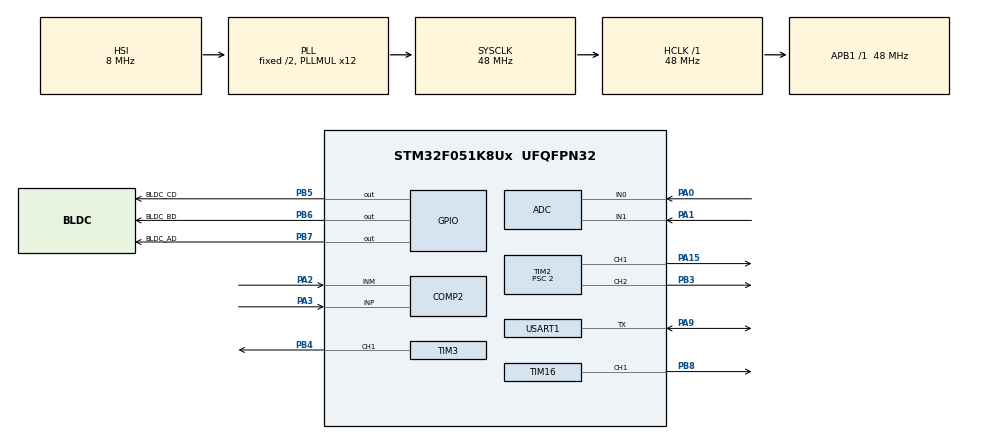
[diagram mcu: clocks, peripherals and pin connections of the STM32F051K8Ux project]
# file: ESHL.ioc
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ADC.ContinuousConvMode=ENABLE
ADC.DMAContinuousRequests=DISABLE
ADC.SamplingTime=ADC_SAMPLETIME_1CYCLE_5
COMP2.TriggerMode=COMP_TRIGGERMODE_IT_RISING
Dma.ADC.1.Direction=DMA_PERIPH_TO_MEMORY
Dma.ADC.1.Instance=DMA1_Channel1
Dma.ADC.1.MemDataAlignment=DMA_MDATAALIGN_HALFWORD
Dma.ADC.1.MemInc=DMA_MINC_ENABLE
Dma.ADC.1.Mode=DMA_NORMAL
Dma.ADC.1.PeriphDataAlignment=DMA_PDATAALIGN_HALFWORD
Dma.ADC.1.PeriphInc=DMA_PINC_DISABLE
Dma.ADC.1.Priority=DMA_PRIORITY_LOW
Dma.Request0=TIM16_CH1/UP
Dma.Request1=ADC
Dma.Request2=USART1_RX
Dma.Request3=USART1_TX
Dma.TIM16_CH1/UP.0.Direction=DMA_MEMORY_TO_PERIPH
Dma.TIM16_CH1/UP.0.Instance=DMA1_Channel3
Dma.TIM16_CH1/UP.0.MemDataAlignment=DMA_MDATAALIGN_HALFWORD
Dma.TIM16_CH1/UP.0.MemInc=DMA_MINC_ENABLE
Dma.TIM16_CH1/UP.0.Mode=DMA_CIRCULAR
Dma.TIM16_CH1/UP.0.PeriphDataAlignment=DMA_PDATAALIGN_HALFWORD
Dma.TIM16_CH1/UP.0.PeriphInc=DMA_PINC_DISABLE
Dma.TIM16_CH1/UP.0.Priority=DMA_PRIORITY_LOW
Dma.USART1_RX.2.Direction=DMA_PERIPH_TO_MEMORY
Dma.USART1_RX.2.Instance=DMA1_Channel5
Dma.USART1_RX.2.MemDataAlignment=DMA_MDATAALIGN_BYTE
Dma.USART1_RX.2.MemInc=DMA_MINC_ENABLE
Dma.USART1_RX.2.Mode=DMA_NORMAL
Dma.USART1_RX.2.PeriphDataAlignment=DMA_PDATAALIGN_BYTE
Dma.USART1_RX.2.PeriphInc=DMA_PINC_DISABLE
Dma.USART1_RX.2.Priority=DMA_PRIORITY_LOW
Dma.USART1_TX.3.Direction=DMA_MEMORY_TO_PERIPH
Dma.USART1_TX.3.Instance=DMA1_Channel2
Dma.USART1_TX.3.MemDataAlignment=DMA_MDATAALIGN_BYTE
Dma.USART1_TX.3.MemInc=DMA_MINC_ENABLE
Dma.USART1_TX.3.Mode=DMA_NORMAL
Dma.USART1_TX.3.PeriphDataAlignment=DMA_PDATAALIGN_BYTE
Dma.USART1_TX.3.PeriphInc=DMA_PINC_DISABLE
Dma.USART1_TX.3.Priority=DMA_PRIORITY_LOW
Mcu.Family=STM32F0
Mcu.Name=STM32F051K8Ux
Mcu.Package=UFQFPN32
NVIC.ADC1_COMP_IRQn=true\:0\:0\:false\:false\:true\:false\:true\:true
NVIC.DMA1_Channel1_IRQn=true\:0\:0\:true\:false\:true\:false\:true\:true
NVIC.DMA1_Channel2_3_IRQn=true\:0\:0\:true\:false\:true\:false\:true\:true
NVIC.DMA1_Channel4_5_IRQn=true\:1\:0\:true\:false\:true\:false\:true\:true
NVIC.USART1_IRQn=true\:1\:0\:true\:false\:true\:true\:true\:true
PA0.Mode=IN0
PA0.Signal=ADC_IN0
PA1.Mode=IN1
PA1.Signal=ADC_IN1
PA13.Mode=Serial_Wire
PA13.Signal=SYS_SWDIO
PA14.Mode=Serial_Wire
PA14.Signal=SYS_SWCLK
PA15.Signal=S_TIM2_CH1_ETR
PA2.Mode=INM
PA2.Signal=COMP2_INM
PA3.Mode=INP
PA3.Signal=COMP2_INP
PA9.Mode=Half_duplex(single_wire_mode)
PA9.Signal=USART1_TX
PB3.Signal=S_TIM2_CH2
PB4.Signal=S_TIM3_CH1
PB5.GPIO_Label=BLDC_CD
PB5.GPIO_PuPd=GPIO_PULLDOWN
PB5.GPIO_Speed=GPIO_SPEED_FREQ_HIGH
PB5.Signal=GPIO_Output
PB6.GPIO_Label=BLDC_BD
PB6.GPIO_PuPd=GPIO_PULLDOWN
PB6.GPIO_Speed=GPIO_SPEED_FREQ_HIGH
PB6.Signal=GPIO_Output
PB7.GPIO_FM7=__NULL
PB7.GPIO_Label=BLDC_AD
PB7.GPIO_PuPd=GPIO_PULLDOWN
PB7.GPIO_Speed=GPIO_SPEED_FREQ_HIGH
PB7.Signal=GPIO_Output
PB8.Signal=S_TIM16_CH1
ProjectManager.HeapSize=0x200
ProjectManager.StackSize=0x400
ProjectManager.TargetToolchain=STM32CubeIDE
RCC.AHBFreq_Value=48000000
RCC.APB1Freq_Value=48000000
RCC.APB1TimFreq_Value=48000000
RCC.HCLKFreq_Value=48000000
RCC.PLLMUL=RCC_PLL_MUL12
RCC.SYSCLKFreq_VALUE=48000000
RCC.SYSCLKSource=RCC_SYSCLKSOURCE_PLLCLK
SH.S_TIM16_CH1.0=TIM16_CH1,PWM Generation1 CH1
SH.S_TIM2_CH1_ETR.0=TIM2_CH1,PWM Generation1 CH1
SH.S_TIM2_CH2.0=TIM2_CH2,PWM Generation2 CH2
SH.S_TIM3_CH1.0=TIM3_CH1,PWM Generation1 CH1
TIM16.AutoReloadPreload=TIM_AUTORELOAD_PRELOAD_DISABLE
TIM16.Channel=TIM_CHANNEL_1
TIM16.Period=60
TIM16.Prescaler=0
TIM2.AutoReloadPreload=TIM_AUTORELOAD_PRELOAD_ENABLE
TIM2.Channel-PWM\ Generation1\ CH1=TIM_CHANNEL_1
TIM2.Channel-PWM\ Generation2\ CH2=TIM_CHANNEL_2
TIM2.Period=991
TIM2.Prescaler=2
TIM3.AutoReloadPreload=TIM_AUTORELOAD_PRELOAD_ENABLE
TIM3.Channel-PWM\ Generation1\ CH1=TIM_CHANNEL_1
TIM3.Period=991
TIM3.Prescaler=2
TIM6.AutoReloadPreload=TIM_AUTORELOAD_PRELOAD_ENABLE
TIM6.Prescaler=47
USART1.BaudRate=115200
USART1.SwapParam=ADVFEATURE_SWAP_DISABLE
USART1.VirtualMode-Half_duplex(single_wire_mode)=VM_ASYNC
VP_RTC_VS_RTC_Activate.Mode=RTC_Enabled
VP_TIM16_VS_ClockSourceINT.Mode=Enable_Timer
VP_TIM2_VS_ClockSourceINT.Mode=Internal
VP_TIM3_VS_ClockSourceINT.Mode=Internal
VP_TIM6_VS_ClockSourceINT.Mode=Enable_Timer
board=custom

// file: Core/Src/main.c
/* USER CODE BEGIN Header */
/**
  ******************************************************************************
  * @file           : main.c
  * @brief          : Main program body
  ******************************************************************************
  * @attention
  *
  * Copyright (c) 2025 STMicroelectronics.
  * All rights reserved.
  *
  * This software is licensed under terms that can be found in the LICENSE file
  * in the root directory of this software component.
  * If no LICENSE file comes with this software, it is provided AS-IS.
  *
  ******************************************************************************
  */
/* USER CODE END Header */
#include "main.h"
#include "adc.h"
#include "comp.h"
#include "dma.h"
#include "rtc.h"
#include "tim.h"
#include "usart.h"
#include "gpio.h"

/* USER CODE BEGIN Includes */

#include <string.h>
#include "ESHL_driver.h"
#include "ws2812b.h"
#include "communication_management.h"
#include "ESHL_protocol.h"

/* USER CODE END Includes */

void SystemClock_Config(void);

/* USER CODE BEGIN 0 */

extern uint16_t ESHL_RunPWMBuff;   //电调运行pwm缓存
extern ESHL_PROTOCOL_PACK_ANALYSIS_T recv_str;

/* USER CODE END 0 */

int main(void)
{

  /* MCU Configuration--------------------------------------------------------*/

  /* Reset of all peripherals, Initializes the Flash interface and the Systick. */
  HAL_Init();

  /* Configure the system clock */
  SystemClock_Config();

  /* Initialize all configured peripherals */
  MX_GPIO_Init();
  MX_DMA_Init();
  MX_RTC_Init();
  MX_COMP2_Init();
  MX_TIM2_Init();
  MX_TIM3_Init();
  MX_TIM6_Init();
  MX_TIM16_Init();
  MX_ADC_Init();
  MX_USART1_UART_Init();
  /* USER CODE BEGIN 2 */

  uint8_t ESHL_OpenLoopRestartNum = 0;//电调重开环启动计数

  WS2812B_OBJ_T ESHL_StateLed;                                    //创建电调ws2812b指示灯对象
  WS2812_Init(&ESHL_StateLed,&htim16,TIM_CHANNEL_1,1);//初始化
  WS2812_Set(&ESHL_StateLed,0,15,15,0);            //默认为黄色

  //电调指示灯                   内容
  //--------------------------------------------------
  //绿色常亮               表示电调准备就绪,正常运行
  //--------------------------------------------------
  //黄色常亮               表示正在初始化
  //--------------------------------------------------
  //红色闪烁               表示MOS异常,闪烁次数代表错误代码
  //--------------------------------------------------
  //橙色闪烁               表示电流异常
  //--------------------------------------------------
  //蓝色闪烁               表示主机离线,数据接收超时
  //--------------------------------------------------
  //白色闪烁               表示电调开环启动超过最大次数,开环启动失败
  //--------------------------------------------------
  //紫色常亮               表示电调正在设置地址
  //--------------------------------------------------
  //紫色闪烁               表示地址设置完毕,闪烁次数代表电调地址
  //--------------------------------------------------
  //浅蓝闪烁               表示电池电压异常
  //--------------------------------------------------
  //绿色与蓝色交替闪烁       表示电调串口接收到数据,但不是发给本电调的
  //--------------------------------------------------

  ESHL_ESC_Init();

  uint8_t mos_error_id = MOS_SelfTest();//MOS自检,并获取错误代码
  if (mos_error_id != 0) {
    while (1) {
      for (uint8_t i = 0;i < mos_error_id;i++) {
        WS2812_SetAll(&ESHL_StateLed,15,0,0);//红灯闪烁,闪烁次数代表错误码
        HAL_Delay(200);
        WS2812_SetAll(&ESHL_StateLed,0,0,0);
        HAL_Delay(200);
        ESHL_CommunicationSendCode(ESHL_PROTOCOL_CMD_ERROR,0xE0);
      }
      HAL_Delay(800);
    }
  }

  //----------开机音乐----------
  ESHL_Beep(ESHL_BEEP_SHORT);//E
  HAL_Delay(100);

  ESHL_Beep(ESHL_BEEP_SHORT);//S
  ESHL_Beep(ESHL_BEEP_SHORT);
  ESHL_Beep(ESHL_BEEP_SHORT);
  HAL_Delay(100);

  ESHL_Beep(ESHL_BEEP_LONG);//C
  ESHL_Beep(ESHL_BEEP_SHORT);
  ESHL_Beep(ESHL_BEEP_LONG);
  ESHL_Beep(ESHL_BEEP_SHORT);
  HAL_Delay(100);

  // ESHL_Beep(ESHL_BEEP_SHORT);//E
  // HAL_Delay(100);
  //
  // ESHL_Beep(ESHL_BEEP_SHORT);//S
  // ESHL_Beep(ESHL_BEEP_SHORT);
  // ESHL_Beep(ESHL_BEEP_SHORT);
  // HAL_Delay(100);
  //
  // ESHL_Beep(ESHL_BEEP_SHORT);//H
  // ESHL_Beep(ESHL_BEEP_SHORT);
  // ESHL_Beep(ESHL_BEEP_SHORT);
  // ESHL_Beep(ESHL_BEEP_SHORT);
  // HAL_Delay(100);
  //
  // ESHL_Beep(ESHL_BEEP_SHORT);//L
  // ESHL_Beep(ESHL_BEEP_LONG);
  // ESHL_Beep(ESHL_BEEP_SHORT);
  // ESHL_Beep(ESHL_BEEP_SHORT);
  // HAL_Delay(100);

  //----------end of 开机音乐----------

  if (ESHL_GetState() == ESHL_STATE_OFF) {//初始化无错误
    ESHL_SetState(EShl_STATE_READY);//将电调状态设置为准备就绪
  }

  /* USER CODE END 2 */

  /* Infinite loop */
  /* USER CODE BEGIN WHILE */
  while (1)
  {
    ESHL_RuningCurrentVBATChack();//电流和电池电压检测
    switch (ESHL_GetState()) {

      case ESHL_STATE_OFF://电调关闭
        ESHL_CloseMOSComp();//关闭所有MOS管并且关闭比较器
        WS2812_SetAll(&ESHL_StateLed,0,0,0);
        break;

      case EShl_STATE_READY://电调准备就绪
        WS2812_SetAll(&ESHL_StateLed,0,15,0);//状态指示灯设为绿色
        ESHL_CommunicationStart();//开始通信
        break;

      case ESHL_STATE_START://启动电机
        WS2812_SetAll(&ESHL_StateLed,0,15,0);//状态指示灯设为绿色
        ESHL_Start(ESHL_GetDirection());
        break;

      case ESHL_STATE_OPEN_LOOP_START_FAIL://电调开环启动失败
        if (ESHL_OpenLoopRestartNum > ESHL_OPEN_LOOP_RESTART_MAX_NUM - 2) {
          ESHL_SetState(ESHL_STATE_OPEN_LOOP_START_ERROR);//设置电调状态为无法开环启动
        }
        else{
          ESHL_OpenLoopRestartNum++;
          ESHL_Start(ESHL_GetDirection());
        }
        break;

      case ESHL_STATE_OPEN_LOOP_START_ERROR://电调开环启动重试超过最大次数,无法开环启动
          ESHL_CloseMOSComp();//关闭所有MOS管并且关闭比较器
          WS2812_SetAll(&ESHL_StateLed,15,15,15);
          HAL_Delay(200);
          WS2812_SetAll(&ESHL_StateLed,0,0,0);
          HAL_Delay(200);
          ESHL_CommunicationSendCode(ESHL_PROTOCOL_CMD_ERROR,0XE2);//发送电调错误码
        break;

      case ESHL_STATE_RUN_CLOCKWISE://顺时针方向运动中
        ESHL_OpenLoopRestartNum = 0;//开环重启动计数清零
        ESHL_RuningChack();       //堵转检测
        ESHL_SET_PWM(ESHL_RunPWMBuff);//更新运行PWM值
        WS2812_SetAll(&ESHL_StateLed,0,15,0);//状态指示灯设为绿色
        break;

       case ESHL_STATE_RUN_COUNTER_CLOCKWISE://逆时针方向运动中
        ESHL_OpenLoopRestartNum = 0;//开环重启动计数清零
        ESHL_RuningChack();       //堵转检测
        ESHL_SET_PWM(ESHL_RunPWMBuff);//更新运行PWM值
        WS2812_SetAll(&ESHL_StateLed,0,15,0);//状态指示灯设为绿色
        break;

      case ESHL_STATE_MOTOR_RUNING_STOP://电机运行时停转
        ESHL_CommunicationSendCode(ESHL_PROTOCOL_CMD_ERROR,0XE3);//发送电调错误码
        ESHL_CommunicationStart();//开启接收
        ESHL_Start(ESHL_GetDirection());//开环启动
        break;

      case ESHL_STATE_CURRENT_ERROR://电流异常
          ESHL_CloseMOSComp();//关闭所有MOS管并且关闭比较器
          WS2812_SetAll(&ESHL_StateLed,15,5,0);
          HAL_Delay(200);
          WS2812_SetAll(&ESHL_StateLed,0,0,0);
          HAL_Delay(200);
          ESHL_CommunicationSendCode(ESHL_PROTOCOL_CMD_ERROR,0XE1);//发送电调错误码
        break;

      case ESHL_STATE_SET_HOST_TIMEOUT://主机离线
          ESHL_CloseMOSComp();//关闭所有MOS管并且关闭比较器
          WS2812_SetAll(&ESHL_StateLed,0,0,15);
          HAL_Delay(200);
          WS2812_SetAll(&ESHL_StateLed,0,0,0);
          HAL_Delay(200);
        break;

      case ESHL_STATE_SET_ADDR://电调设置地址中
        ESHL_SetAddr(recv_str.addr_dat);
        WS2812_SetAll(&ESHL_StateLed,15,0,15);
        break;

      case ESHL_STATE_SET_ADDR_OK://电调地址设置成功
        while (1) {
          for (uint8_t i = 0;i < (uint8_t)(ESHL_GetAddr() & 0xff);i++) {
            WS2812_SetAll(&ESHL_StateLed,15,0,15);
            HAL_Delay(200);
            WS2812_SetAll(&ESHL_StateLed,0,0,0);
            HAL_Delay(200);
            ESHL_CommunicationAddressSend();//广播电调地址
          }
          HAL_Delay(800);
        }
        break;

      case ESHL_STATE_BATTERY_VOLTAGE_ERROR://电池电压异常
        ESHL_CloseMOSComp();//关闭所有MOS管并且关闭比较器
        WS2812_SetAll(&ESHL_StateLed,0,15,15);
        HAL_Delay(200);
        WS2812_SetAll(&ESHL_StateLed,0,0,0);
        HAL_Delay(200);
        ESHL_CommunicationSendCode(ESHL_PROTOCOL_CMD_ERROR,0XE4);//发送电调错误码
        break;

      case ESHL_STATE_BRAKE:///刹车中
        ESHL_Break();
        break;

      case ESHL_STATE_BRAKE_OK://刹车完毕
        ESHL_CommunicationSendCode(ESHL_PROTOCOL_CMD_BREAK,0xA3);
        ESHL_SetState(EShl_STATE_READY);
        break;

      default:
        break;
    }
    ESHL_CommunicationDataProcessing();//通信数据处理
    /* USER CODE END WHILE */

  }
}

void SystemClock_Config(void)
{
  RCC_OscInitTypeDef RCC_OscInitStruct = {0};
  RCC_ClkInitTypeDef RCC_ClkInitStruct = {0};
  RCC_PeriphCLKInitTypeDef PeriphClkInit = {0};

  /** Initializes the RCC Oscillators according to the specified parameters
  * in the RCC_OscInitTypeDef structure.
  */
  RCC_OscInitStruct.OscillatorType = RCC_OSCILLATORTYPE_HSI|RCC_OSCILLATORTYPE_HSI14
                              |RCC_OSCILLATORTYPE_LSI;
  RCC_OscInitStruct.HSIState = RCC_HSI_ON;
  RCC_OscInitStruct.HSI14State = RCC_HSI14_ON;
  RCC_OscInitStruct.HSICalibrationValue = RCC_HSICALIBRATION_DEFAULT;
  RCC_OscInitStruct.HSI14CalibrationValue = 16;
  RCC_OscInitStruct.LSIState = RCC_LSI_ON;
  RCC_OscInitStruct.PLL.PLLState = RCC_PLL_ON;
  RCC_OscInitStruct.PLL.PLLSource = RCC_PLLSOURCE_HSI;
  RCC_OscInitStruct.PLL.PLLMUL = RCC_PLL_MUL12;
  RCC_OscInitStruct.PLL.PREDIV = RCC_PREDIV_DIV1;
  if (HAL_RCC_OscConfig(&RCC_OscInitStruct) != HAL_OK)
  {
    Error_Handler();
  }

  /** Initializes the CPU, AHB and APB buses clocks
  */
  RCC_ClkInitStruct.ClockType = RCC_CLOCKTYPE_HCLK|RCC_CLOCKTYPE_SYSCLK
                              |RCC_CLOCKTYPE_PCLK1;
  RCC_ClkInitStruct.SYSCLKSource = RCC_SYSCLKSOURCE_PLLCLK;
  RCC_ClkInitStruct.AHBCLKDivider = RCC_SYSCLK_DIV1;
  RCC_ClkInitStruct.APB1CLKDivider = RCC_HCLK_DIV1;

  if (HAL_RCC_ClockConfig(&RCC_ClkInitStruct, FLASH_LATENCY_1) != HAL_OK)
  {
    Error_Handler();
  }
  PeriphClkInit.PeriphClockSelection = RCC_PERIPHCLK_USART1|RCC_PERIPHCLK_RTC;
  PeriphClkInit.Usart1ClockSelection = RCC_USART1CLKSOURCE_PCLK1;
  PeriphClkInit.RTCClockSelection = RCC_RTCCLKSOURCE_LSI;
  if (HAL_RCCEx_PeriphCLKConfig(&PeriphClkInit) != HAL_OK)
  {
    Error_Handler();
  }
}

void Error_Handler(void)
{
  __disable_irq();
  while (1)
  {
  }
}
